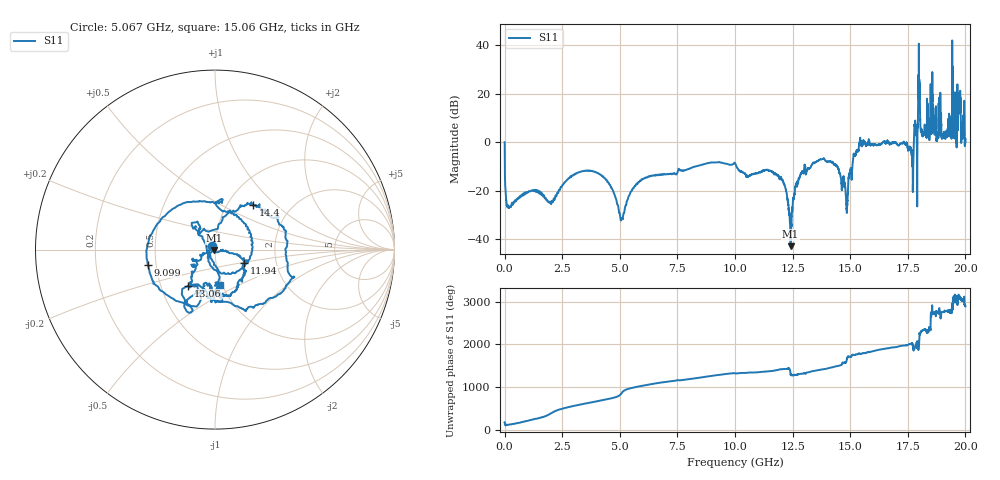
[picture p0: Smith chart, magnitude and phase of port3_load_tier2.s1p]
! Created with skrf 1.8.0 (http://scikit-rf.org).
# GHz S RI R 50.0
!freq ReS11 ImS11
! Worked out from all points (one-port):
!   10001 points, 1 MHz to 20 GHz, reference 50 ohm
!   lowest |S11| = -42.8 dB at 12.41 GHz (marker M1), VSWR 1.01, Z = 49.4 - j0.339 ohm
!   |S11| at or under -10 dB: 8.876 MHz to 8.278 GHz (8.27 GHz wide, 200 % of centre); 10.07 GHz to 13.01 GHz (2.946 GHz wide, 25.5 % of centre); 14.44 GHz to 15.09 GHz (651.4 MHz wide, 4.41 % of centre) (the widest 3 of 8)
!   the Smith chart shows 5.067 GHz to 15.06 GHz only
!   S11 on the Smith chart (normalised r, x): 5.067 GHz: 0.97, +0.04; 9.099 GHz: 0.45, -0.09; 11.94 GHz: 1.37, -0.21; 13.06 GHz: 0.69, -0.30; 14.4 GHz: 1.31, +0.73; 15.06 GHz: 0.98, -0.40
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0.001  -0.9999 0.000761
2.500875  -0.0935 0.0888
5.00075  -0.004 0.0332
5.066747  -0.017 0.0206
7.500625  0.0169 0.235
9.098545  -0.3742 -0.084
10.0005  -0.1618 -0.3358
11.9404  0.1642 -0.074
12.41438  -0.00638 -0.00343
12.50038  -0.0441 -0.019
13.06435  -0.1506 -0.2019
14.39628  0.2129 0.25
15.00025  0.0303 -0.2643
15.05625  0.0306 -0.1972
17.50013  -0.7799 -0.0668
17.83411  -1.987 0.367
17.87411  -0.9592 -1.264
17.89811  -0.2286 -0.8239
18.0161  2.453 11.57
18.0701  -1.288 1.028
18.10009  -1.591 0.8293
18.62207  -2.657 -0.9304
19.01005  -0.6276 -1.084
19.32603  -1.336 -1.25
19.35203  0.7419 -1.731
19.58202  -1.263 -0.8226
19.75801  -6.235 -0.7704
20  1.136 0.1898
